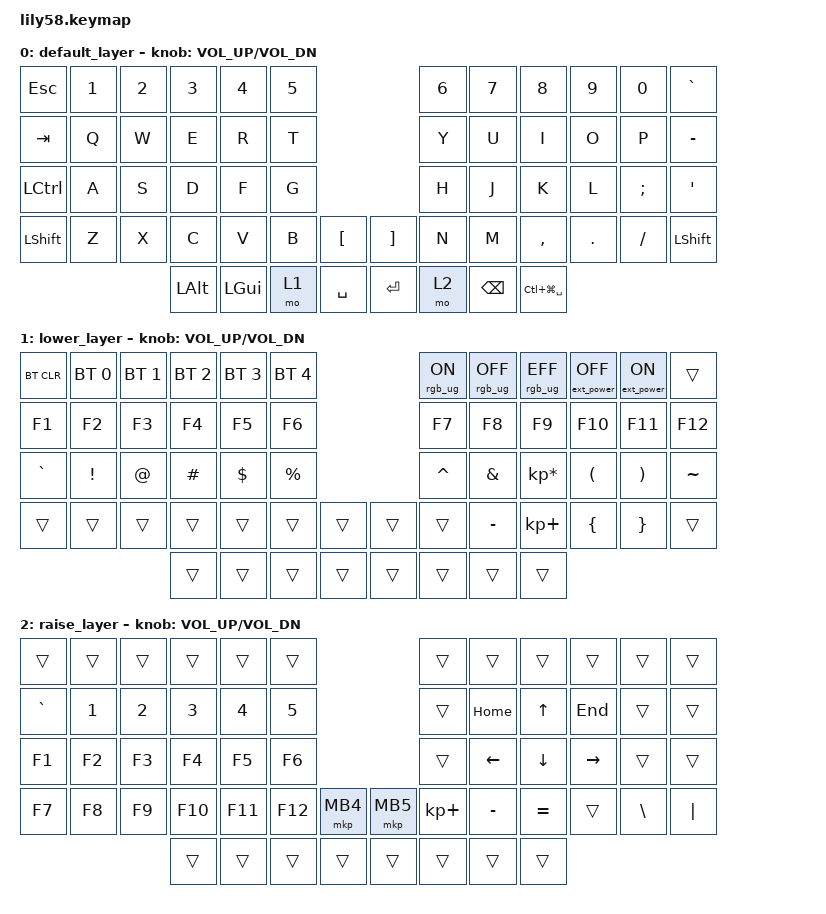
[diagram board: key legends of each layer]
/*
 * Copyright (c) 2020 The ZMK Contributors
 *
 * SPDX-License-Identifier: MIT
 */

#include <behaviors.dtsi>
#include <dt-bindings/zmk/keys.h>
#include <dt-bindings/zmk/bt.h>
#include <dt-bindings/zmk/ext_power.h>
#include <dt-bindings/zmk/rgb.h>
#include <dt-bindings/zmk/mouse.h>
#include <dt-bindings/zmk/outputs.h>

/ {
    keymap {
        compatible = "zmk,keymap";

        default_layer {
// ------------------------------------------------------------------------------------------------------------
// |  ESC  |  1  |  2  |  3   |  4   |  5   |                   |  6   |  7    |  8    |  9   |   0   |   `   |
// |  TAB  |  Q  |  W  |  E   |  R   |  T   |                   |  Y   |  U    |  I    |  O   |   P   |   -   |
// |  CTRL |  A  |  S  |  D   |  F   |  G   |                   |  H   |  J    |  K    |  L   |   ;   |   '   |
// | SHIFT |  Z  |  X  |  C   |  V   |  B   |   "["  |  |  "]"  |  N   |  M    |  ,    |  .   |   /   | SHIFT |
//                     | ALT  | GUI  | LOWER|  SPACE |  | ENTER | RAISE| BSPC  | GUI   |
            bindings = <
&kp ESC   &kp N1 &kp N2 &kp N3   &kp N4   &kp N5                     &kp N6 &kp N7   &kp N8    &kp N9  &kp N0   &kp GRAVE
&kp TAB   &kp Q  &kp W  &kp E    &kp R    &kp T                      &kp Y  &kp U    &kp I     &kp O   &kp P    &kp MINUS
&kp LCTRL &kp A  &kp S  &kp D    &kp F    &kp G                      &kp H  &kp J    &kp K     &kp L   &kp SEMI &kp SQT
&kp LSHFT &kp Z  &kp X  &kp C    &kp V    &kp B  &kp LBKT   &kp RBKT &kp N  &kp M    &kp COMMA &kp DOT &kp FSLH &kp LSHFT
                        &kp LALT &kp LGUI &mo 1  &kp SPACE  &kp RET  &mo 2  &kp BSPC &kp LC(LG(SPACE))
            >;

            sensor-bindings = <&inc_dec_kp C_VOL_UP C_VOL_DN>;
        };

        lower_layer {
// ------------------------------------------------------------------------------------------------------------
// | BTCLR | BT1 | BT2 |  BT3 |  BT4 |  BT5 |                   | RGBON | RGBOFF | RGBEFF |  OUTTOG |       |       |
// |  F1   |  F2 |  F3 |  F4  |  F5  |  F6  |                   |  F7   |  F8    |  F9    |  F10 |  F11  |  F12  |
// |   `   |  !  |  @  |  #   |  $   |  %   |                   |  ^    |  &     |  *     |  (   |   )   |   ~   |
// |       |     |     |      |      |      |        |  |       |       |  _     |  +     |  {   |   }   |       |
//                     |      |      |      |        |  |       |       |        |        |
            bindings = <
&bt BT_CLR &bt BT_SEL 0     &bt BT_SEL 1      &bt BT_SEL 2      &bt BT_SEL 3 &bt BT_SEL 4                 &rgb_ug RGB_ON   &rgb_ug RGB_OFF  &rgb_ug RGB_EFF  &ext_power EP_OFF    &ext_power EP_ON    &trans
&kp F1     &kp F2           &kp F3            &kp F4            &kp F5       &kp F6                       &kp F7    &kp F8    &kp F9          &kp F10   &kp F11   &kp F12
&kp GRAVE  &kp EXCL         &kp AT            &kp HASH          &kp DOLLAR   &kp PRCNT                    &kp CARET &kp AMPS  &kp KP_MULTIPLY &kp LPAR  &kp RPAR  &kp TILDE
&trans     &trans           &trans            &trans            &trans       &trans    &trans   &trans    &trans    &kp MINUS &kp KP_PLUS     &kp LBRC  &kp RBRC  &trans
                                              &trans            &trans       &trans    &trans   &trans    &trans    &trans    &trans
            >;

            sensor-bindings = <&inc_dec_kp C_VOL_UP C_VOL_DN>;
        };

        raise_layer {
// ------------------------------------------------------------------------------------------------------------
// |       |     |     |      |      |      |                   |      |       |       |       |      |       |
// |   `   |  1  |  2  |  3   |  4   |  5   |                   |      |  HOME |   ^   |  END  |      |       |       |
// |   F1  |  F2 |  F3 |  F4  |  F5  |  F6  |                   |      |   <-  |   v   |   ->  |      |       |       |
// |   F7  |  F8 |  F9 |  F10 |  F11 |  F12 |  BCK   |  |  FWD  |  +   |   -   |   =   |       |  \   |  "|"  |
//                     |      |      |      |        |  |       |      |       |       |
            bindings = <
&trans    &trans &trans &trans  &trans  &trans                       &trans      &trans    &trans    &trans    &trans    &trans
&kp GRAVE &kp N1 &kp N2 &kp N3  &kp N4  &kp N5                       &trans      &kp HOME  &kp UP    &kp END   &trans    &trans
&kp F1    &kp F2 &kp F3 &kp F4  &kp F5  &kp F6                       &trans      &kp LEFT  &kp DOWN  &kp RIGHT &trans    &trans
&kp F7    &kp F8 &kp F9 &kp F10 &kp F11 &kp F12  &mkp MB4 &mkp MB5   &kp KP_PLUS &kp MINUS &kp EQUAL &trans    &kp BSLH  &kp PIPE
                        &trans  &trans  &trans   &trans   &trans     &trans      &trans    &trans
            >;

            sensor-bindings = <&inc_dec_kp C_VOL_UP C_VOL_DN>;
        };
    };
};
&led_strip {
    chain-length = <35>;
};
